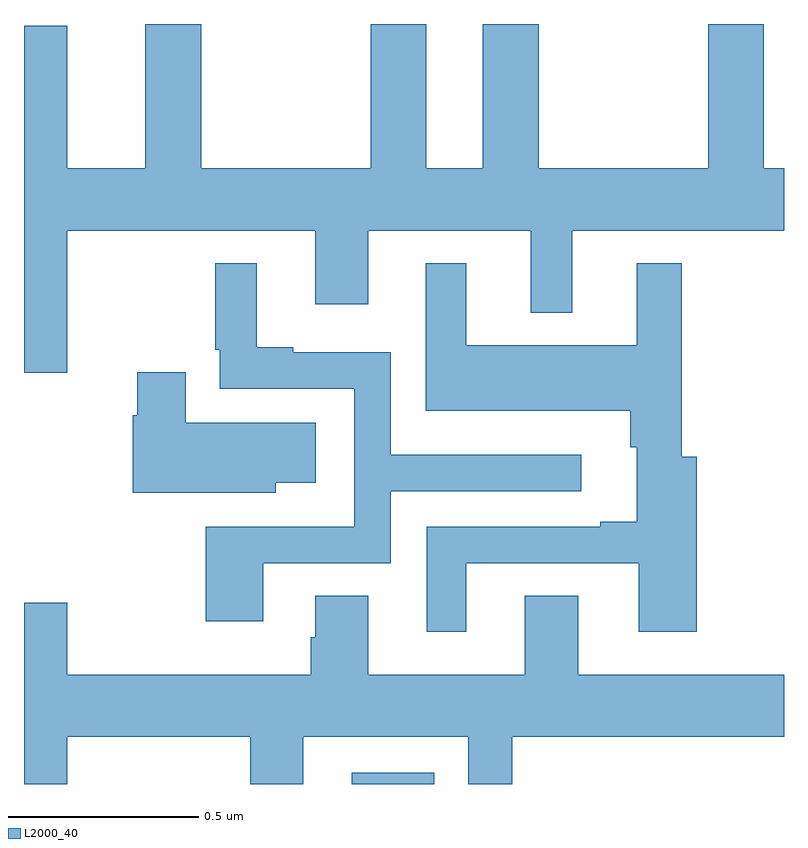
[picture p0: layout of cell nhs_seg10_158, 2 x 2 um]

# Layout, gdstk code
import gdstk
lib = gdstk.Library(unit=1e-6, precision=1e-09)
def R(c, l, rs):  # rectangles x0, y0, x1, y1
    for r in rs: c.add(gdstk.rectangle(r[:2], r[2:], *l))
def P(c, l, *ps):  # polygons
    for p in ps: c.add(gdstk.Polygon(p, *l))
L2000_40 = (2000, 40)

nhs_seg10_158 = lib.new_cell('nhs_seg10_158')
R(nhs_seg10_158, L2000_40, [(112.863,1325.5,113.08,1325.53)])
P(nhs_seg10_158, L2000_40, [(112.114,1326.956),(112.766,1326.956),(112.766,1326.762),(112.906,1326.762),(112.906,1326.956),(113.333,1326.956),(113.333,1326.74),(113.443,1326.74),(113.443,1326.956),(114,1326.956),(114,1327.12),(113.947,1327.12),(113.947,1327.5),(113.8,1327.5),(113.8,1327.12),(113.355,1327.12),(113.355,1327.5),(113.207,1327.5),(113.207,1327.12),(113.059,1327.12),(113.059,1327.5),(112.912,1327.5),(112.912,1327.12),(112.467,1327.12),(112.467,1327.5),(112.319,1327.5),(112.319,1327.12),(112.114,1327.12),(112.114,1327.495),(112,1327.495),(112,1326.582),(112.114,1326.582)],
  [(113.164,1326.081),(113.618,1326.081),(113.618,1325.901),(113.771,1325.901),(113.771,1326.361),(113.731,1326.361),(113.731,1326.871),(113.612,1326.871),(113.612,1326.655),(113.164,1326.655),(113.164,1326.871),(113.057,1326.871),(113.057,1326.482),(113.595,1326.482),(113.595,1326.386),(113.612,1326.386),(113.612,1326.19),(113.516,1326.19),(113.516,1326.177),(113.06,1326.177),(113.06,1325.901),(113.164,1325.901)],
  [(112.63,1326.081),(112.965,1326.081),(112.965,1326.27),(113.467,1326.27),(113.467,1326.366),(112.965,1326.366),(112.965,1326.636),(112.708,1326.636),(112.708,1326.649),(112.612,1326.649),(112.612,1326.871),(112.503,1326.871),(112.503,1326.643),(112.515,1326.643),(112.515,1326.54),(112.869,1326.54),(112.869,1326.177),(112.478,1326.177),(112.478,1325.928),(112.63,1325.928)],
  [(112.662,1326.293),(112.768,1326.293),(112.768,1326.451),(112.426,1326.451),(112.426,1326.583),(112.298,1326.583),(112.298,1326.47),(112.286,1326.47),(112.286,1326.266),(112.662,1326.266)],
  [(112.114,1325.624),(112.595,1325.624),(112.595,1325.5),(112.735,1325.5),(112.735,1325.624),(113.169,1325.624),(113.169,1325.5),(113.285,1325.5),(113.285,1325.624),(114,1325.624),(114,1325.788),(113.458,1325.788),(113.458,1325.996),(113.318,1325.996),(113.318,1325.788),(112.906,1325.788),(112.906,1325.996),(112.766,1325.996),(112.766,1325.886),(112.754,1325.886),(112.754,1325.788),(112.114,1325.788),(112.114,1325.977),(112,1325.977),(112,1325.5),(112.114,1325.5)])

lib.write_gds('nhs_seg10_158.gds')
